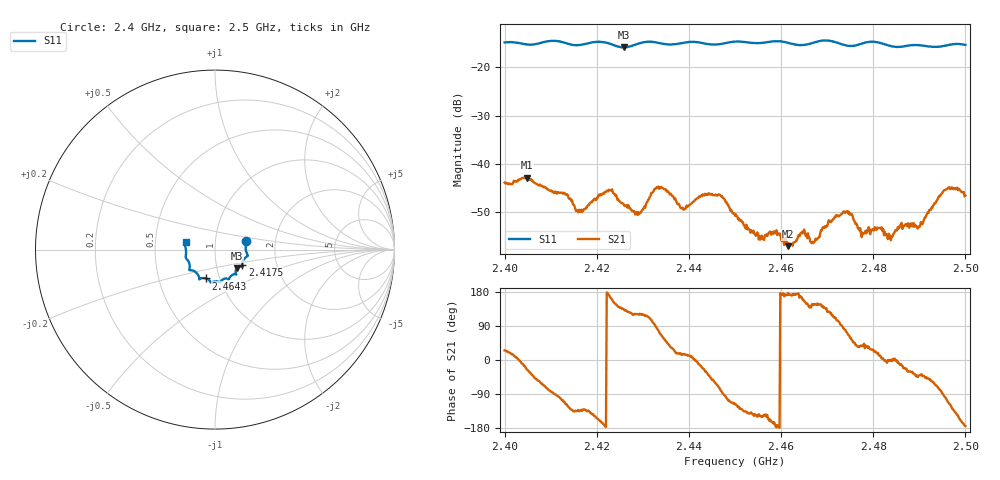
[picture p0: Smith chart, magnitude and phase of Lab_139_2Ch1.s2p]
# Hz S RI R 50
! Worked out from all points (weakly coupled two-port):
!   601 points, 2.4 GHz to 2.5 GHz, reference 50 ohm
!   highest |S21| = -42.81 dB at 2.4048 GHz (marker M1); lowest = -57.0 dB at 2.4615 GHz (marker M2)
!   lowest |S11| = -15.9 dB at 2.4258 GHz (marker M3), VSWR 1.38, Z = 62.3 - j13.2 ohm
!   |S11| at or under -10 dB: start of sweep to end of sweep
!   S12 and S22 are empty: the file has one direction only
!   S11 on the Smith chart (normalised r, x): 2.4 GHz: 1.41, +0.14; 2.4175 GHz: 1.34, -0.23; 2.4643 GHz: 0.86, -0.29; 2.5 GHz: 0.72, +0.06
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2.4e9  0.1728 0.0487  0.0058 0.00274  0 0  0 0
2.404833e9  0.1705 0.016  0.00654 -0.0031  0 0  0 0
2.416667e9  0.1529 -0.0742  -0.00222 -0.00254  0 0  0 0
2.4175e9  0.152 -0.0835  -0.00228 -0.00254  0 0  0 0
2.422833e9  0.1466 -0.0941  -0.00526 0.00117  0 0  0 0
2.425833e9  0.1217 -0.1034  -0.00268 0.00276  0 0  0 0
2.429333e9  0.1159 -0.1332  -0.00167 0.00264  0 0  0 0
2.433333e9  0.1132 -0.137  0.00112 0.00574  0 0  0 0
2.438667e9  0.0809 -0.1581  0.00343 0.000877  0 0  0 0
2.446667e9  0.0426 -0.167  0.00125 -0.00465  0 0  0 0
2.45e9  0.0289 -0.1809  -0.00133 -0.0026  0 0  0 0
2.455667e9  -0.00366 -0.1774  -0.00148 -0.000862  0 0  0 0
2.4585e9  -0.0206 -0.1834  -0.00194 -0.000535  0 0  0 0
2.4615e9  -0.028 -0.1758  -0.00142 7.68e-05  0 0  0 0
2.464333e9  -0.0497 -0.161  -0.00188 0.000473  0 0  0 0
2.466667e9  -0.0758 -0.1593  -0.00128 0.000833  0 0  0 0
2.474e9  -0.0975 -0.1366  0.000632 0.00312  0 0  0 0
2.4775e9  -0.1313 -0.1154  0.0014 0.00107  0 0  0 0
2.483333e9  -0.1407 -0.09  0.00191 -8e-06  0 0  0 0
2.490167e9  -0.1632 -0.0394  0.00174 -0.00147  0 0  0 0
2.496e9  -0.1666 0.0196  -0.00149 -0.00533  0 0  0 0
2.5e9  -0.164 0.043  -0.00469 -0.00047  0 0  0 0
